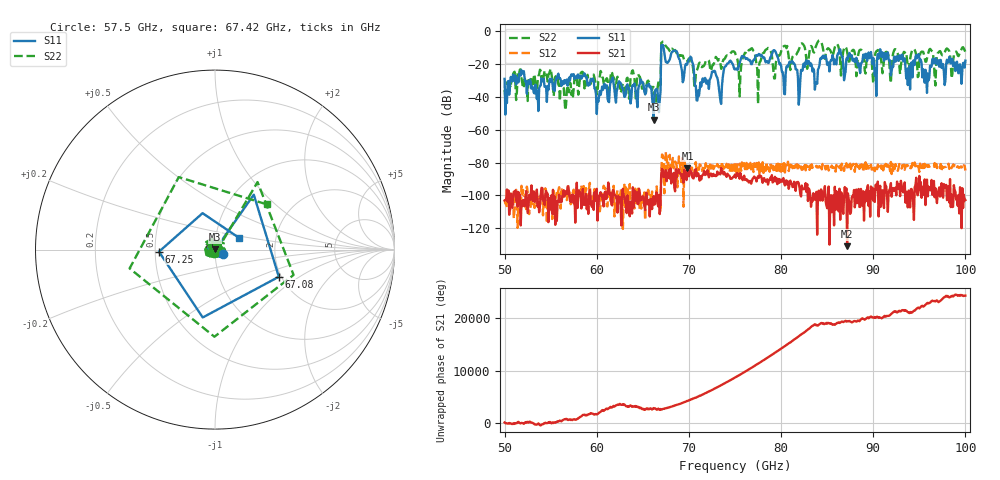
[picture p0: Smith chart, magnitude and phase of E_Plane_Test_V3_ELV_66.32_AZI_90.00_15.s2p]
! 11/26/2026 4:09:22 PM
! C:\ANRITSUVNA\TEMP\TEMP.S2P
! CHANNEL.1
! TR.MEASUREMENT
! RAW.DATA
# HZ S RI R 50.0
! FREQ.HZ  S11RE  S11IM  S21RE  S21IM  S12RE  S12IM  S22RE  S22IM
!; PortSelection: Port_12
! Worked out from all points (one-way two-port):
!   601 points, 50 GHz to 100 GHz, reference 50 ohm
!   highest |S21| = -83.33 dB at 69.83 GHz (marker M1); lowest = -131.0 dB at 87.17 GHz (marker M2)
!   lowest |S11| = -53.9 dB at 66.17 GHz (marker M3), VSWR 1.00, Z = 50.1 + j0.145 ohm
!   |S11| at or under -10 dB: start of sweep to 67 GHz; 67.25 GHz to end of sweep
!   |S22| runs from -48.2 to -5.6 dB; largest |S21 - S12| = 0.00027
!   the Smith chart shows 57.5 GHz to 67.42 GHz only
!   S11 on the Smith chart (normalised r, x): 57.5 GHz: 1.09, -0.05; 67.08 GHz: 1.94, -0.69; 67.25 GHz: 0.52, -0.01; 67.42 GHz: 1.29, +0.18
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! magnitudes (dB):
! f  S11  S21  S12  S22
! 50 GHz  -29.0  -103.1  -102.9  -35.8
! 51.67 GHz  -26.3  -99.4  -105.5  -23.3
! 57.5 GHz  -26.2  -104.8  -96.5  -34.7
! 58.42 GHz  -27.1  -100.4  -103.5  -24.7
! 60.17 GHz  -43.0  -105.6  -102.2  -30.4
! 66.17 GHz  -53.9  -100.5  -99.9  -34.0
! 66.67 GHz  -41.5  -106.7  -104.0  -31.7
! 67.08 GHz  -8.3  -83.8  -75.1  -6.7
! 67.25 GHz  -10.1  -88.9  -77.8  -6.2
! 67.42 GHz  -16.6  -88.6  -87.0  -8.3
! 69.83 GHz  -19.7  -83.3  -82.7  -18.6
! 70.92 GHz  -42.2  -87.4  -82.3  -23.0
! 75 GHz  -23.3  -87.3  -81.8  -13.0
! 79.25 GHz  -11.5  -90.2  -81.2  -28.8
! 80.25 GHz  -27.9  -89.4  -85.2  -9.3
! 83.42 GHz  -24.5  -103.6  -83.2  -10.8
! 87.17 GHz  -15.9  -131.0  -81.9  -12.5
! 91.67 GHz  -16.8  -99.0  -83.5  -15.2
! 93.75 GHz  -32.8  -107.3  -81.7  -21.4
! 94.83 GHz  -15.0  -99.9  -82.0  -27.9
! 95.83 GHz  -37.5  -90.4  -81.8  -16.5
! 100 GHz  -17.9  -102.9  -84.8  -12.6
